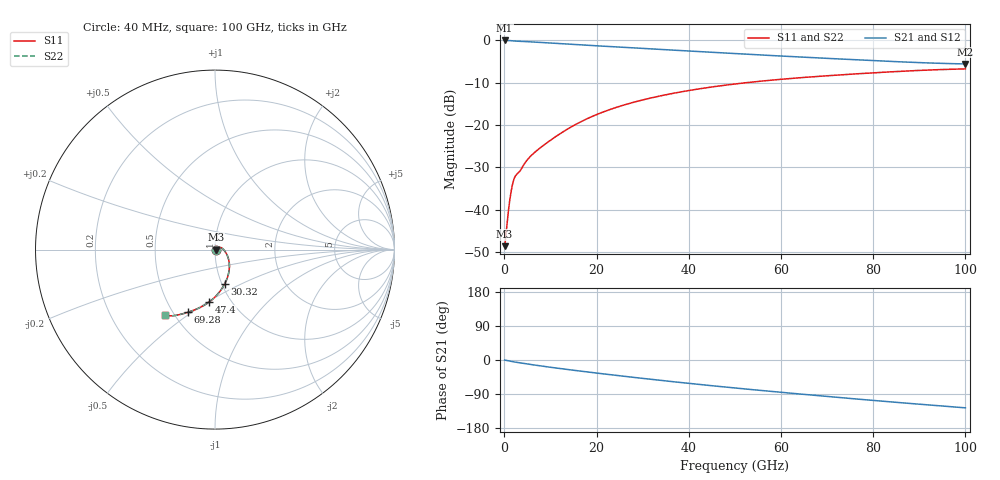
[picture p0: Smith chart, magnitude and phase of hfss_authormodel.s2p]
! Touchstone file exported from HFSS 2022.2.0
!  File:  C:/Users/dkcdn/Downloads/ViaModelMaterials/SimulationModel/HFSS/single_via_freq_dep_12mil_2port.aedt
!  Generated:  1:12:15 PM  Oct 24, 2024
!  Design:  HFSSDesign1
!  Project:  single_via_freq_dep_12mil_2port
!  Setup:  Setup1
!  Solution:  Sweep
! Variables:
!  apad = 4mil
!  bantipad = 7mil
!  dk = 3.5
!  hudie = 15.3mil
!  rvia = 4mil
!  tgnd = 1.3mil
# GHz S MA R 50.000000
! Terminal data exported
! Port[1] = via_T2
! Port[2] = via_T1
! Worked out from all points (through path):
!   2500 points, 40 MHz to 100 GHz, reference 50 ohm
!   highest |S21| = -0.03 dB at 40 MHz (marker M1); lowest = -5.6 dB at 100 GHz (marker M2)
!   group delay of S21, straight-line fit = 3.39 ps
!   lowest |S11| = -48.6 dB at 40 MHz (marker M3), VSWR 1.01, Z = 50.4 + j0.0407 ohm
!   |S11| at or under -10 dB: start of sweep to 52.46 GHz
!   |S22| runs from -48.6 to -6.7 dB; largest |S21 - S12| = 3.6e-14
!   S11 on the Smith chart (normalised r, x): 40 MHz: 1.01, +0.00; 30.32 GHz: 1.03, -0.41; 47.4 GHz: 0.80, -0.51; 69.28 GHz: 0.59, -0.48; 100 GHz: 0.45, -0.41
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0.04  0.003718 6.2  0.9963 -0.1  0.9963 -0.1  0.003718 6.2
! Gamma 0.128946602676258 1.76113559987212 0.128967720838036 1.76118139569474
! Port Impedance 50 0 50 0
0.36  0.005238 39.0  0.9958 -0.9  0.9958 -0.9  0.005237 38.9
1  0.01117 56.3  0.9935 -2.5  0.9935 -2.5  0.01117 56.3
1.44  0.01626 53.7  0.9901 -3.6  0.9901 -3.6  0.01626 53.7
1.68  0.01907 50.0  0.9876 -4.2  0.9876 -4.2  0.01907 50.0
1.96  0.02201 44.5  0.9842 -4.8  0.9842 -4.8  0.02201 44.5
2.48  0.02548 34.2  0.9786 -5.8  0.9786 -5.8  0.02548 34.2
3.44  0.02899 25.9  0.9733 -7.6  0.9733 -7.6  0.02899 25.9
5.04  0.0393 12.6  0.9633 -10.6  0.9633 -10.6  0.0393 12.6
7.04  0.05003 -2.7  0.9501 -14.2  0.9501 -14.2  0.05003 -2.7
11.96  0.07826 -27.0  0.9148 -22.4  0.9148 -22.4  0.07825 -27.0
16.72  0.1103 -43.7  0.8827 -29.7  0.8827 -29.7  0.1103 -43.7
22.88  0.1524 -60.2  0.8442 -38.6  0.8442 -38.6  0.1524 -60.2
30.32  0.1999 -74.6  0.8007 -49.0  0.8007 -49.0  0.1999 -74.6
33.36  0.2181 -79.3  0.7837 -53.0  0.7837 -53.0  0.2181 -79.3
40.16  0.2563 -88.3  0.7471 -61.8  0.7471 -61.8  0.2563 -88.3
47.4  0.2931 -96.2  0.7102 -70.8  0.7102 -70.8  0.2931 -96.2
50.04  0.3055 -98.8  0.6974 -73.9  0.6974 -73.9  0.3055 -98.8
66.68  0.3706 -111.7  0.6253 -92.6  0.6253 -92.6  0.3706 -111.7
69.28  0.3793 -113.2  0.6153 -95.4  0.6153 -95.4  0.3793 -113.2
83.36  0.4233 -120.3  0.5651 -110.1  0.5651 -110.1  0.4233 -120.3
100  0.4599 -127.2  0.5263 -126.3  0.5263 -126.3  0.4599 -127.2
